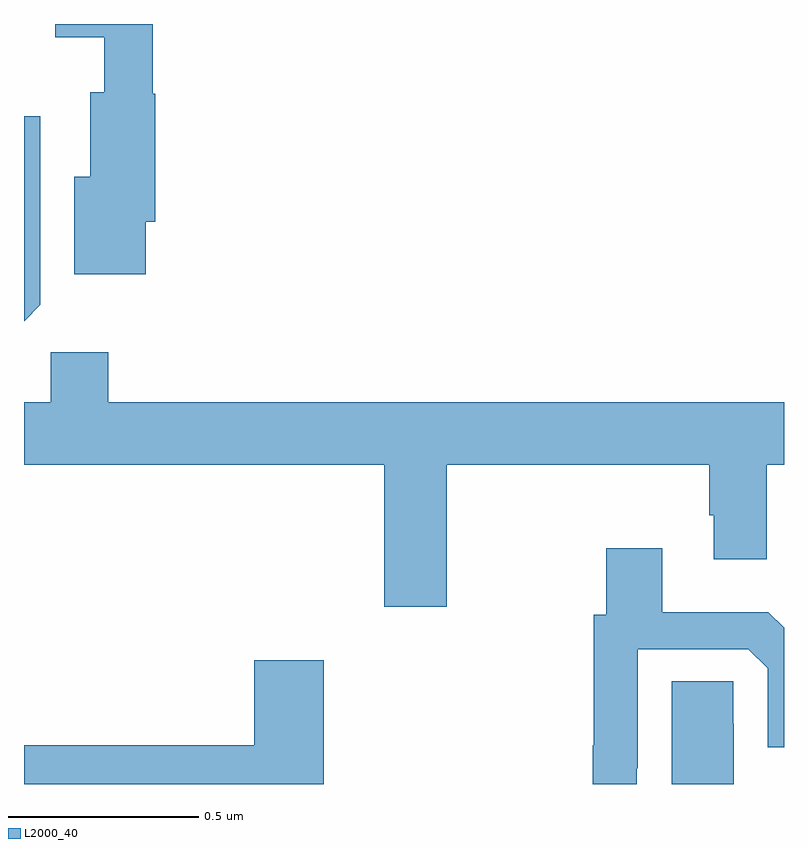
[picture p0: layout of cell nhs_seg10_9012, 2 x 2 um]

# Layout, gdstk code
import gdstk
lib = gdstk.Library(unit=1e-6, precision=1e-09)
def P(c, l, *ps):  # polygons
    for p in ps: c.add(gdstk.Polygon(p, *l))
L2000_40 = (2000, 40)

nhs_seg10_9012 = lib.new_cell('nhs_seg10_9012')
P(nhs_seg10_9012, L2000_40, [(224.32,1276.98),(224.345,1276.98),(224.345,1277.316),(224.339,1277.316),(224.339,1277.5),(224.082,1277.5),(224.082,1277.465),(224.211,1277.465),(224.211,1277.32),(224.174,1277.32),(224.174,1277.098),(224.132,1277.098),(224.132,1276.841),(224.32,1276.841)],
  [(224.043,1276.761),(224.043,1277.257),(224,1277.257),(224,1276.718)],
  [(225.112,1276.34),(225.803,1276.34),(225.803,1276.207),(225.815,1276.207),(225.815,1276.092),(225.955,1276.092),(225.955,1276.34),(226,1276.34),(226,1276.504),(224.222,1276.504),(224.222,1276.636),(224.07,1276.636),(224.07,1276.504),(224,1276.504),(224,1276.34),(224.948,1276.34),(224.948,1275.966),(225.112,1275.966)],
  [(225.612,1275.541),(225.615,1275.541),(225.615,1275.855),(225.906,1275.855),(225.957,1275.804),(225.957,1275.597),(226,1275.597),(226,1275.911),(225.959,1275.952),(225.679,1275.952),(225.679,1276.12),(225.532,1276.12),(225.532,1275.945),(225.499,1275.945),(225.499,1275.602),(225.497,1275.602),(225.497,1275.5),(225.612,1275.5)],
  [(224.789,1275.826),(224.606,1275.826),(224.606,1275.602),(224,1275.602),(224,1275.5),(224.789,1275.5)],
  [(225.868,1275.659),(225.867,1275.659),(225.867,1275.77),(225.705,1275.77),(225.705,1275.5),(225.868,1275.5)])

lib.write_gds('nhs_seg10_9012.gds')
